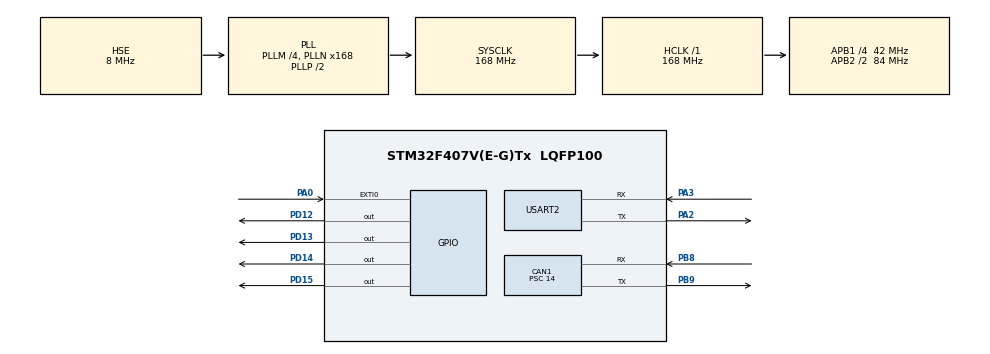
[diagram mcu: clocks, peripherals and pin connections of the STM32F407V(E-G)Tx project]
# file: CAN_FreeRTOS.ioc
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CAN1.BS1=CAN_BS1_6TQ
CAN1.BS2=CAN_BS2_8TQ
CAN1.CalculateTimeBit=5000
CAN1.CalculateTimeQuantum=333.33333333333337
CAN1.Prescaler=14
FREERTOS.BinarySemaphores01=myBinarySem01;myBinarySem02
FREERTOS.Mutexes01=myMutex01;myMutex02
FREERTOS.Tasks01=defaultTask,0,128,StartDefaultTask,Default;myTask02,-2,128,StartTask02,Default;myTask03,0,128,StartTask03,Default
Mcu.Family=STM32F4
Mcu.Name=STM32F407V(E-G)Tx
Mcu.Package=LQFP100
NVIC.CAN1_RX0_IRQn=true\:5\:0\:true\:false\:true\:true
NVIC.EXTI0_IRQn=true\:6\:0\:true\:false\:true\:true
NVIC.PriorityGroup=NVIC_PRIORITYGROUP_4
NVIC.TIM1_UP_TIM10_IRQn=true\:0\:0\:false\:false\:true\:false
NVIC.TimeBase=TIM1_UP_TIM10_IRQn
NVIC.TimeBaseIP=TIM1
PA0-WKUP.Signal=GPXTI0
PA13.Mode=Serial_Wire
PA13.Signal=SYS_JTMS-SWDIO
PA14.Mode=Serial_Wire
PA14.Signal=SYS_JTCK-SWCLK
PA2.Mode=Asynchronous
PA2.Signal=USART2_TX
PA3.Mode=Asynchronous
PA3.Signal=USART2_RX
PB8.Mode=Master
PB8.Signal=CAN1_RX
PB9.Mode=Master
PB9.Signal=CAN1_TX
PC14-OSC32_IN.Mode=LSE-External-Oscillator
PC14-OSC32_IN.Signal=RCC_OSC32_IN
PC15-OSC32_OUT.Mode=LSE-External-Oscillator
PC15-OSC32_OUT.Signal=RCC_OSC32_OUT
PD12.Signal=GPIO_Output
PD13.Signal=GPIO_Output
PD14.Signal=GPIO_Output
PD15.Signal=GPIO_Output
PH0-OSC_IN.Mode=HSE-External-Oscillator
PH0-OSC_IN.Signal=RCC_OSC_IN
PH1-OSC_OUT.Mode=HSE-External-Oscillator
PH1-OSC_OUT.Signal=RCC_OSC_OUT
ProjectManager.HeapSize=0x200
ProjectManager.StackSize=0x400
ProjectManager.TargetToolchain=MDK-ARM V5
RCC.48MHZClocksFreq_Value=84000000
RCC.AHBFreq_Value=168000000
RCC.APB1CLKDivider=RCC_HCLK_DIV4
RCC.APB1Freq_Value=42000000
RCC.APB1TimFreq_Value=84000000
RCC.APB2CLKDivider=RCC_HCLK_DIV2
RCC.APB2Freq_Value=84000000
RCC.APB2TimFreq_Value=168000000
RCC.CortexFreq_Value=168000000
RCC.HCLKFreq_Value=168000000
RCC.HSE_VALUE=8000000
RCC.HSI_VALUE=16000000
RCC.PLLM=4
RCC.PLLN=168
RCC.PLLSourceVirtual=RCC_PLLSOURCE_HSE
RCC.SYSCLKFreq_VALUE=168000000
RCC.SYSCLKSource=RCC_SYSCLKSOURCE_PLLCLK
RCC.VCOOutputFreq_Value=336000000
VP_FREERTOS_VS_ENABLE.Mode=Enabled
VP_SYS_VS_tim1.Mode=TIM1
board=CAN_FreeRTOS

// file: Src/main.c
#include "stm32f4xx_hal.h"
#include "cmsis_os.h"

CAN_HandleTypeDef hcan1;

UART_HandleTypeDef huart2;

CAN_FilterConfTypeDef         sFilterConfig;
static CanTxMsgTypeDef        TxMessage;
static CanRxMsgTypeDef        RxMessage;

osThreadId defaultTaskHandle;
osThreadId myTask02Handle;
osThreadId myTask03Handle;
osMutexId myMutex01Handle;
osMutexId myMutex02Handle;
osSemaphoreId myBinarySem01Handle;
osSemaphoreId myBinarySem02Handle;

/* USER CODE BEGIN PV */
/* Private variables ---------------------------------------------------------*/

/* USER CODE END PV */

void SystemClock_Config(void);
void Error_Handler(void);
static void MX_GPIO_Init(void);
static void MX_CAN1_Init(void);
static void MX_USART2_UART_Init(void);
void StartDefaultTask(void const * argument);
void StartTask02(void const * argument);
void StartTask03(void const * argument);

/* USER CODE BEGIN PFP */
/* Private function prototypes -----------------------------------------------*/

/* USER CODE END PFP */

int main(void)
{

  /* MCU Configuration----------------------------------------------------------*/

  /* Reset of all peripherals, Initializes the Flash interface and the Systick. */
  HAL_Init();

  /* Configure the system clock */
  SystemClock_Config();

  /* Initialize all configured peripherals */
  MX_GPIO_Init();
	MX_USART2_UART_Init();
  MX_CAN1_Init();

  /* USER CODE BEGIN 2 */
	hcan1.pTxMsg = &TxMessage;
  hcan1.pRxMsg = &RxMessage;

	hcan1.pTxMsg->StdId = 0x321;
  hcan1.pTxMsg->RTR = CAN_RTR_DATA;
  hcan1.pTxMsg->IDE = CAN_ID_STD;
  hcan1.pTxMsg->DLC = 8;
  hcan1.pTxMsg->Data[0] = 'C';
  hcan1.pTxMsg->Data[1] = 'A';
  hcan1.pTxMsg->Data[2] = 'N';
  hcan1.pTxMsg->Data[3] = ' ';
  hcan1.pTxMsg->Data[4] = 'T';
  hcan1.pTxMsg->Data[5] = 'e';
  hcan1.pTxMsg->Data[6] = 's';
  hcan1.pTxMsg->Data[7] = 't';

	sFilterConfig.FilterNumber = 0;
  sFilterConfig.FilterMode = CAN_FILTERMODE_IDMASK;
  sFilterConfig.FilterScale = CAN_FILTERSCALE_32BIT;
  sFilterConfig.FilterIdHigh = 0x0000;
  sFilterConfig.FilterIdLow = 0x0000;
  sFilterConfig.FilterMaskIdHigh = 0x0000;
  sFilterConfig.FilterMaskIdLow = 0x0000;
  sFilterConfig.FilterFIFOAssignment = 0;
  sFilterConfig.FilterActivation = ENABLE;
  sFilterConfig.BankNumber = 14;
  HAL_CAN_ConfigFilter(&hcan1, &sFilterConfig);
  /* USER CODE BEGIN 2 */

	HAL_CAN_Receive_IT(&hcan1,CAN_FIFO0);

  /* USER CODE END 2 */

  /* Create the mutex(es) */
  /* definition and creation of myMutex01 */
  osMutexDef(myMutex01);
  myMutex01Handle = osMutexCreate(osMutex(myMutex01));

  /* definition and creation of myMutex02 */
  osMutexDef(myMutex02);
  myMutex02Handle = osMutexCreate(osMutex(myMutex02));

  /* Create the semaphores(s) */
  /* definition and creation of myBinarySem01 */
  osSemaphoreDef(myBinarySem01);
  myBinarySem01Handle = osSemaphoreCreate(osSemaphore(myBinarySem01), 1);
	xSemaphoreTake(myBinarySem01Handle,99999 );

  /* definition and creation of myBinarySem02 */
  osSemaphoreDef(myBinarySem02);
  myBinarySem02Handle = osSemaphoreCreate(osSemaphore(myBinarySem02), 1);

  /* Create the thread(s) */
  /* definition and creation of defaultTask */
  osThreadDef(defaultTask, StartDefaultTask, osPriorityNormal, 0, 128);
  defaultTaskHandle = osThreadCreate(osThread(defaultTask), NULL);

  /* definition and creation of myTask02 */
  osThreadDef(myTask02, StartTask02, osPriorityLow, 0, 128);
  myTask02Handle = osThreadCreate(osThread(myTask02), NULL);

  /* definition and creation of myTask03 */
  osThreadDef(myTask03, StartTask03, osPriorityNormal, 0, 128);
  myTask03Handle = osThreadCreate(osThread(myTask03), NULL);

	HAL_UART_Transmit(&huart2, (uint8_t *)"hello\n", 7,10);
  /* Start scheduler */
  osKernelStart();

  /* We should never get here as control is now taken by the scheduler */

  /* Infinite loop */
  while (1)
  {

  }

}

/** System Clock Configuration
*/
void SystemClock_Config(void)
{

  RCC_OscInitTypeDef RCC_OscInitStruct;
  RCC_ClkInitTypeDef RCC_ClkInitStruct;

  __HAL_RCC_PWR_CLK_ENABLE();

  __HAL_PWR_VOLTAGESCALING_CONFIG(PWR_REGULATOR_VOLTAGE_SCALE1);

  RCC_OscInitStruct.OscillatorType = RCC_OSCILLATORTYPE_HSE;
  RCC_OscInitStruct.HSEState = RCC_HSE_ON;
  RCC_OscInitStruct.PLL.PLLState = RCC_PLL_ON;
  RCC_OscInitStruct.PLL.PLLSource = RCC_PLLSOURCE_HSE;
  RCC_OscInitStruct.PLL.PLLM = 4;
  RCC_OscInitStruct.PLL.PLLN = 168;
  RCC_OscInitStruct.PLL.PLLP = RCC_PLLP_DIV2;
  RCC_OscInitStruct.PLL.PLLQ = 4;
  if (HAL_RCC_OscConfig(&RCC_OscInitStruct) != HAL_OK)
  {
    Error_Handler();
  }

  RCC_ClkInitStruct.ClockType = RCC_CLOCKTYPE_HCLK|RCC_CLOCKTYPE_SYSCLK
                              |RCC_CLOCKTYPE_PCLK1|RCC_CLOCKTYPE_PCLK2;
  RCC_ClkInitStruct.SYSCLKSource = RCC_SYSCLKSOURCE_PLLCLK;
  RCC_ClkInitStruct.AHBCLKDivider = RCC_SYSCLK_DIV1;
  RCC_ClkInitStruct.APB1CLKDivider = RCC_HCLK_DIV4;
  RCC_ClkInitStruct.APB2CLKDivider = RCC_HCLK_DIV2;
  if (HAL_RCC_ClockConfig(&RCC_ClkInitStruct, FLASH_LATENCY_5) != HAL_OK)
  {
    Error_Handler();
  }

  HAL_SYSTICK_Config(HAL_RCC_GetHCLKFreq()/1000);

  HAL_SYSTICK_CLKSourceConfig(SYSTICK_CLKSOURCE_HCLK);

  /* SysTick_IRQn interrupt configuration */
  HAL_NVIC_SetPriority(SysTick_IRQn, 15, 0);
}

/* CAN1 init function */
static void MX_CAN1_Init(void)
{

  hcan1.Instance = CAN1;
  hcan1.Init.Prescaler = 14;
  hcan1.Init.Mode = CAN_MODE_NORMAL;
  hcan1.Init.SJW = CAN_SJW_1TQ;
  hcan1.Init.BS1 = CAN_BS1_6TQ;
  hcan1.Init.BS2 = CAN_BS2_8TQ;
  hcan1.Init.TTCM = DISABLE;
  hcan1.Init.ABOM = DISABLE;
  hcan1.Init.AWUM = DISABLE;
  hcan1.Init.NART = DISABLE;
  hcan1.Init.RFLM = DISABLE;
  hcan1.Init.TXFP = DISABLE;
  if (HAL_CAN_Init(&hcan1) != HAL_OK)
  {
    HAL_UART_Transmit(&huart2, (uint8_t *)"fail\n", 6, 10);
    Error_Handler();
  }
		HAL_UART_Transmit(&huart2, (uint8_t *)"pass\n", 6, 10);
 }

/* USART2 init function */
static void MX_USART2_UART_Init(void)
{

  huart2.Instance = USART2;
  huart2.Init.BaudRate = 115200;
  huart2.Init.WordLength = UART_WORDLENGTH_8B;
  huart2.Init.StopBits = UART_STOPBITS_1;
  huart2.Init.Parity = UART_PARITY_NONE;
  huart2.Init.Mode = UART_MODE_TX_RX;
  huart2.Init.HwFlowCtl = UART_HWCONTROL_NONE;
  huart2.Init.OverSampling = UART_OVERSAMPLING_16;
  if (HAL_UART_Init(&huart2) != HAL_OK)
  {
    Error_Handler();
  }

}

/** Configure pins as
        * Analog
        * Input
        * Output
        * EVENT_OUT
        * EXTI
*/
static void MX_GPIO_Init(void)
{

  GPIO_InitTypeDef GPIO_InitStruct;

  /* GPIO Ports Clock Enable */
  __HAL_RCC_GPIOC_CLK_ENABLE();
  __HAL_RCC_GPIOH_CLK_ENABLE();
  __HAL_RCC_GPIOA_CLK_ENABLE();
  __HAL_RCC_GPIOD_CLK_ENABLE();
  __HAL_RCC_GPIOB_CLK_ENABLE();

  /*Configure GPIO pin : PA0 */
  GPIO_InitStruct.Pin = GPIO_PIN_0;
  GPIO_InitStruct.Mode = GPIO_MODE_IT_RISING;
  GPIO_InitStruct.Pull = GPIO_NOPULL;
  HAL_GPIO_Init(GPIOA, &GPIO_InitStruct);

  /*Configure GPIO pins : PD12 PD13 PD14 PD15 */
  GPIO_InitStruct.Pin = GPIO_PIN_12|GPIO_PIN_13|GPIO_PIN_14|GPIO_PIN_15;
  GPIO_InitStruct.Mode = GPIO_MODE_OUTPUT_PP;
  GPIO_InitStruct.Pull = GPIO_NOPULL;
  GPIO_InitStruct.Speed = GPIO_SPEED_FREQ_LOW;
  HAL_GPIO_Init(GPIOD, &GPIO_InitStruct);

  /*Configure GPIO pin Output Level */
  HAL_GPIO_WritePin(GPIOD, GPIO_PIN_12|GPIO_PIN_13|GPIO_PIN_14|GPIO_PIN_15, GPIO_PIN_RESET);

  /* EXTI interrupt init*/
  HAL_NVIC_SetPriority(EXTI0_IRQn, 6, 0);
  HAL_NVIC_EnableIRQ(EXTI0_IRQn);

}

/* StartDefaultTask function */
void StartDefaultTask(void const * argument)
{

  for(;;)
  {
  }
}

/* StartTask02 function */
void StartTask02(void const * argument)
{
  /* USER CODE BEGIN StartTask02 */
  /* Infinite loop */
  for(;;)
  {
    //osDelay(1);
  }
  /* USER CODE END StartTask02 */
}

/* StartTask03 function */
void StartTask03(void const * argument)
{
  /* USER CODE BEGIN StartTask03 */
  /* Infinite loop */
  for(;;)
  {

		if(xSemaphoreTake(myBinarySem01Handle,99999 )==pdTRUE)

		//xSemaphoreTake(myBinarySem01Handle,100);
		HAL_CAN_Transmit(&hcan1, 10);
		HAL_UART_Transmit(&huart2, (uint8_t *)"sent\n", 6, 10);
		HAL_GPIO_TogglePin(GPIOD, GPIO_PIN_12);
		HAL_Delay(200);

//
    //osDelay(1);
  }
  /* USER CODE END StartTask03 */
}

void HAL_TIM_PeriodElapsedCallback(TIM_HandleTypeDef *htim)
{
  if (htim->Instance == TIM1) {
    HAL_IncTick();
  }
}

void Error_Handler(void)
{
  while(1)
  {
  }
}

/************************ (C) COPYRIGHT STMicroelectronics *****END OF FILE****/
